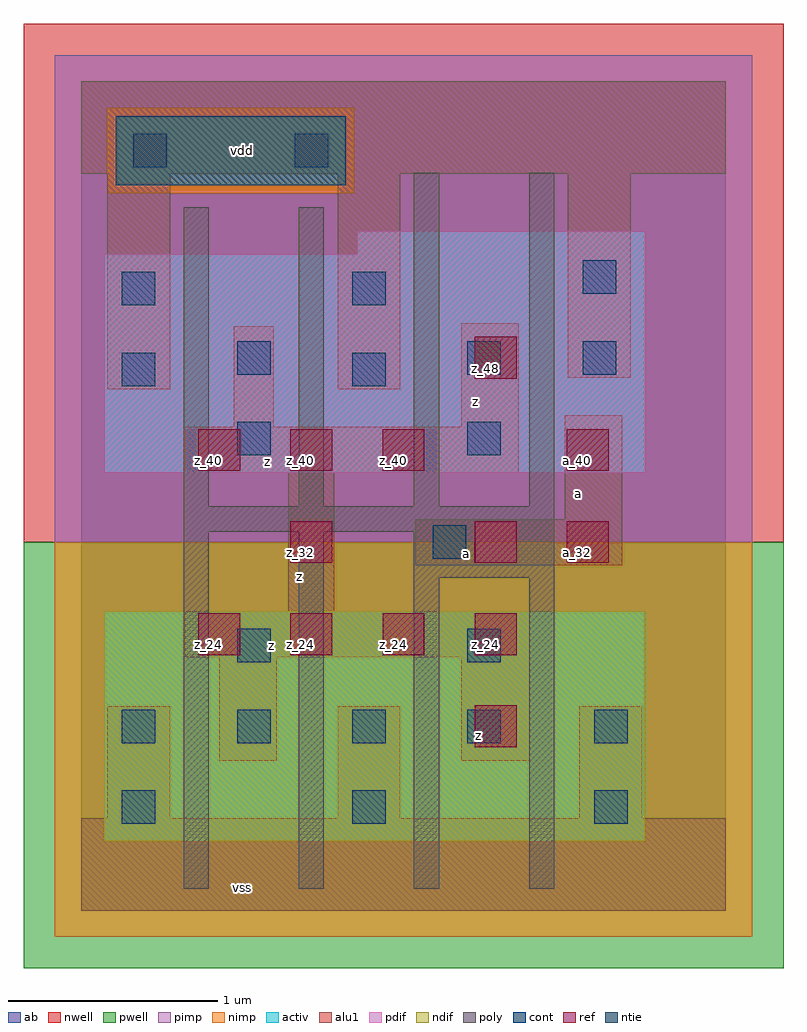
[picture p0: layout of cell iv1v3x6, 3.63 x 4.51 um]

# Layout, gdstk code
import gdstk
lib = gdstk.Library(unit=1e-6, precision=2.5e-09)
def R(c, l, rs):  # rectangles x0, y0, x1, y1
    for r in rs: c.add(gdstk.rectangle(r[:2], r[2:], *l))
def A(c, l, x, y, w, h, nx, ny, dx, dy):  # array of equal rectangles
    R(c, l, [(x+i*dx, y+j*dy, x+i*dx+w, y+j*dy+h) for i in range(nx) for j in range(ny)])
ndif = (3, 0)
pdif = (4, 0)
ntie = (5, 0)
ref = (24, 0)
cont = (25, 0)
pwell = (41, 0)
nwell = (42, 0)
activ = (43, 0)
pimp = (44, 0)
nimp = (45, 0)
poly = (46, 0)
alu1 = (49, 0)
ab = (63, 0)

iv1v3x6 = lib.new_cell('iv1v3x6')
R(iv1v3x6, ndif, [(0.11,0.33,2.695,1.43)])
R(iv1v3x6, pdif, [(0.11,2.09,2.695,3.135), (1.32,3.135,2.695,3.245)])
R(iv1v3x6, ntie, [(0.165,3.465,1.265,3.795)])
A(iv1v3x6, ref, 1.88, 0.78, 0.2, 0.2, 1, 3, 0, 0.88)
A(iv1v3x6, ref, 0.56, 1.22, 0.2, 0.2, 4, 1, 0.44, 0)
A(iv1v3x6, ref, 0.56, 2.1, 0.2, 0.2, 3, 1, 0.44, 0)
R(iv1v3x6, ref, [(1,1.66,1.2,1.86), (2.32,1.66,2.52,1.86), (2.32,2.1,2.52,2.3)])
A(iv1v3x6, cont, 0.195, 0.8, 0.16, 0.16, 4, 1, 0.55, 0)
R(iv1v3x6, cont, [(0.195,0.415,0.355,0.575), (1.295,0.415,1.455,0.575), (2.45,0.415,2.61,0.575), (2.45,0.8,2.61,0.96), (0.745,1.185,0.905,1.345), (1.845,1.185,2.005,1.345), (1.68,1.68,1.84,1.84), (0.745,2.175,0.905,2.335), (1.845,2.175,2.005,2.335), (0.195,2.505,0.355,2.665), (1.295,2.505,1.455,2.665), (0.745,2.56,0.905,2.72), (1.845,2.56,2.005,2.72), (2.395,2.56,2.555,2.72), (0.195,2.89,0.355,3.05), (1.295,2.89,1.455,3.05), (2.395,2.945,2.555,3.105), (0.25,3.55,0.41,3.71), (1.02,3.55,1.18,3.71)])
R(iv1v3x6, pwell, [(-0.275,-0.275,3.355,1.76)])
R(iv1v3x6, nwell, [(-0.275,1.76,3.355,4.235)])
R(iv1v3x6, activ, [(0.11,0.33,2.695,1.43), (0.11,2.09,2.695,3.135), (1.32,3.135,2.695,3.245), (0.165,3.465,1.265,3.795)])
R(iv1v3x6, pimp, [(-0.125,1.76,3.205,3.425), (-0.125,3.425,0.125,3.835), (1.305,3.425,3.205,3.835), (-0.125,3.835,3.205,4.085)])
R(iv1v3x6, nimp, [(-0.125,-0.125,3.205,1.76), (0.125,3.425,1.305,3.835)])
R(iv1v3x6, poly, [(0.49,0.105,0.61,1.81), (1.04,0.105,1.16,1.81), (1.59,0.105,1.71,1.59), (2.14,0.105,2.26,1.59), (1.59,1.59,2.26,1.81), (0.49,1.81,2.26,1.93), (0.49,1.93,0.61,3.36), (1.04,1.93,1.16,3.36), (1.59,1.93,1.71,3.525), (2.14,1.93,2.26,3.525)])
R(iv1v3x6, alu1, [(0,0,3.08,0.44), (0.125,0.44,0.425,0.975), (1.225,0.44,1.525,0.975), (2.38,0.44,2.68,0.975), (0.66,0.715,0.935,1.21), (1.815,0.715,2.145,1.21), (0.495,1.21,2.145,1.43), (0.99,1.43,1.21,2.09), (1.595,1.65,2.585,1.87), (2.31,1.87,2.585,2.365), (0.495,2.09,2.09,2.31), (0.73,2.31,0.92,2.79), (1.815,2.31,2.09,2.805), (0.125,2.49,0.425,3.52), (1.225,2.49,1.525,3.52), (2.325,2.545,2.625,3.52), (0,3.52,3.08,3.96)])
R(iv1v3x6, ab, [(0,0,3.08,3.96)])
iv1v3x6.add(gdstk.Label('vss', (0.77,0.11), layer=49, texttype=0))
iv1v3x6.add(gdstk.Label('z', (1.8975,0.8375), layer=49, texttype=0))
iv1v3x6.add(gdstk.Label('z', (0.9075,1.265), layer=49, texttype=0))
iv1v3x6.add(gdstk.Label('a', (1.8425,1.705), layer=49, texttype=0))
iv1v3x6.add(gdstk.Label('a', (2.3775,1.9925), layer=49, texttype=0))
iv1v3x6.add(gdstk.Label('z', (1.045,1.595), layer=49, texttype=0))
iv1v3x6.add(gdstk.Label('z', (0.8925,2.145), layer=49, texttype=0))
iv1v3x6.add(gdstk.Label('z', (1.8825,2.4325), layer=49, texttype=0))
iv1v3x6.add(gdstk.Label('vdd', (0.77,3.63), layer=49, texttype=0))
iv1v3x6.add(gdstk.Label('z_24', (0.61,1.27), layer=24, texttype=0))
iv1v3x6.add(gdstk.Label('z_40', (0.61,2.15), layer=24, texttype=0))
iv1v3x6.add(gdstk.Label('z_24', (1.05,1.27), layer=24, texttype=0))
iv1v3x6.add(gdstk.Label('z_32', (1.05,1.71), layer=24, texttype=0))
iv1v3x6.add(gdstk.Label('z_40', (1.05,2.15), layer=24, texttype=0))
iv1v3x6.add(gdstk.Label('z_24', (1.49,1.27), layer=24, texttype=0))
iv1v3x6.add(gdstk.Label('z_40', (1.49,2.15), layer=24, texttype=0))
iv1v3x6.add(gdstk.Label('z_16', (1.93,0.83), layer=24, texttype=0))
iv1v3x6.add(gdstk.Label('z_24', (1.93,1.27), layer=24, texttype=0))
iv1v3x6.add(gdstk.Label('a_32', (1.93,1.71), layer=24, texttype=0))
iv1v3x6.add(gdstk.Label('z_48', (1.93,2.59), layer=24, texttype=0))
iv1v3x6.add(gdstk.Label('a_32', (2.37,1.71), layer=24, texttype=0))
iv1v3x6.add(gdstk.Label('a_40', (2.37,2.15), layer=24, texttype=0))

lib.write_gds('iv1v3x6.gds')
